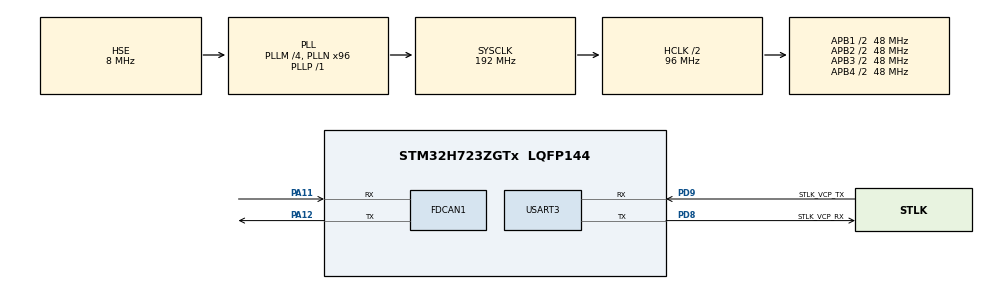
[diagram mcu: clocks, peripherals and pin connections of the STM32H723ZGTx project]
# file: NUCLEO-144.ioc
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CORTEX_M7.default_mode_Activation=1
Dma.Request0=USART3_TX
Dma.USART3_TX.0.Direction=DMA_MEMORY_TO_PERIPH
Dma.USART3_TX.0.EventEnable=DISABLE
Dma.USART3_TX.0.FIFOMode=DMA_FIFOMODE_DISABLE
Dma.USART3_TX.0.Instance=DMA1_Stream0
Dma.USART3_TX.0.MemDataAlignment=DMA_MDATAALIGN_BYTE
Dma.USART3_TX.0.MemInc=DMA_MINC_ENABLE
Dma.USART3_TX.0.Mode=DMA_NORMAL
Dma.USART3_TX.0.PeriphDataAlignment=DMA_PDATAALIGN_BYTE
Dma.USART3_TX.0.PeriphInc=DMA_PINC_DISABLE
Dma.USART3_TX.0.Polarity=HAL_DMAMUX_REQ_GEN_RISING
Dma.USART3_TX.0.Priority=DMA_PRIORITY_LOW
Dma.USART3_TX.0.RequestNumber=1
Dma.USART3_TX.0.SignalID=NONE
Dma.USART3_TX.0.SyncEnable=DISABLE
Dma.USART3_TX.0.SyncPolarity=HAL_DMAMUX_SYNC_NO_EVENT
Dma.USART3_TX.0.SyncRequestNumber=1
Dma.USART3_TX.0.SyncSignalID=NONE
FDCAN1.CalculateBaudRateNominal=500000
FDCAN1.CalculateTimeBitNominal=2000
FDCAN1.CalculateTimeQuantumNominal=125.0
FDCAN1.Mode=FDCAN_MODE_INTERNAL_LOOPBACK
FDCAN1.NominalPrescaler=6
FDCAN1.NominalTimeSeg1=13
FDCAN1.NominalTimeSeg2=2
FDCAN1.RxFifo0ElmtsNbr=3
FDCAN1.StdFiltersNbr=1
FDCAN1.TxFifoQueueElmtsNbr=3
FREERTOS.Tasks01=defaultTask,24,128,StartDefaultTask,Default,NULL,Dynamic,NULL,NULL
Mcu.Family=STM32H7
Mcu.Name=STM32H723ZGTx
Mcu.Package=LQFP144
NUCLEO-H723ZG.LD1=true
NVIC.DMA1_Stream0_IRQn=true\:5\:0\:false\:false\:true\:true\:false\:true\:true
NVIC.FDCAN1_IT0_IRQn=true\:5\:0\:false\:false\:true\:true\:true\:true\:true
NVIC.PriorityGroup=NVIC_PRIORITYGROUP_4
NVIC.TIM6_DAC_IRQn=true\:15\:0\:false\:false\:true\:false\:false\:true\:true
NVIC.TimeBase=TIM6_DAC_IRQn
NVIC.TimeBaseIP=TIM6
NVIC.USART3_IRQn=true\:5\:0\:false\:false\:true\:true\:true\:true\:true
PA11.GPIO_PuPd=GPIO_PULLUP
PA11.Mode=FDCAN_Activate
PA11.Signal=FDCAN1_RX
PA12.Mode=FDCAN_Activate
PA12.Signal=FDCAN1_TX
PA13(JTMS/SWDIO).GPIO_Label=SWDIO
PA13(JTMS/SWDIO).Signal=DEBUG_JTMS-SWDIO
PA14(JTCK/SWCLK).GPIO_Label=SWCLK
PA14(JTCK/SWCLK).Signal=DEBUG_JTCK-SWCLK
PC14-OSC32_IN.Signal=RCC_OSC32_IN
PC15-OSC32_OUT.Signal=RCC_OSC32_OUT
PD8.GPIO_Label=STLK_VCP_RX
PD8.Mode=Asynchronous
PD8.Signal=USART3_TX
PD9.GPIO_Label=STLK_VCP_TX
PD9.Mode=Asynchronous
PD9.Signal=USART3_RX
PH0-OSC_IN.Mode=HSE-External-Clock-Source
PH0-OSC_IN.Signal=RCC_OSC_IN
ProjectManager.HeapSize=0x200
ProjectManager.StackSize=0x400
ProjectManager.TargetToolchain=CMake
RCC.ADCFreq_Value=76000000
RCC.APB1Freq_Value=48000000
RCC.APB2Freq_Value=48000000
RCC.APB3Freq_Value=48000000
RCC.APB4Freq_Value=48000000
RCC.CortexFreq_Value=192000000
RCC.D1PPRE=RCC_APB3_DIV2
RCC.D2PPRE1=RCC_APB1_DIV2
RCC.D2PPRE2=RCC_APB2_DIV2
RCC.D3PPRE=RCC_APB4_DIV2
RCC.DIVM1=4
RCC.DIVM2=1
RCC.DIVN1=96
RCC.DIVN2=19
RCC.DIVP1=1
RCC.DIVQ1=4
RCC.HCLKFreq_Value=96000000
RCC.HPRE=RCC_HCLK_DIV2
RCC.HSE_VALUE=8000000
RCC.PLLFRACN=0
RCC.PLLSourceVirtual=RCC_PLLSOURCE_HSE
RCC.SYSCLKFreq_VALUE=192000000
RCC.SYSCLKSource=RCC_SYSCLKSOURCE_PLLCLK
RCC.USBCLockSelection=RCC_USBCLKSOURCE_HSI48
RCC.USBFreq_Value=48000000
USART3.VirtualMode-Asynchronous=VM_ASYNC
VP_FREERTOS_VS_CMSIS_V2.Mode=CMSIS_V2
VP_MEMORYMAP_VS_MEMORYMAP.Mode=CurAppReg
VP_NUCLEO-H723ZG_VS_BSP_COMMON.Mode=COMMON
VP_SYS_VS_tim6.Mode=TIM6
board=NUCLEO-H723ZG

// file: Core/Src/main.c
/* USER CODE BEGIN Header */
/**
  ******************************************************************************
  * @file           : main.c
  * @brief          : Main program body
  ******************************************************************************
  * @attention
  *
  * Copyright (c) 2026 STMicroelectronics.
  * All rights reserved.
  *
  * This software is licensed under terms that can be found in the LICENSE file
  * in the root directory of this software component.
  * If no LICENSE file comes with this software, it is provided AS-IS.
  *
  ******************************************************************************
  */
/* USER CODE END Header */
#include "main.h"
#include "FreeRTOS.h"
#include "cmsis_os2.h"
#include "dma.h"
#include "fdcan.h"
#include "usart.h"
#include "gpio.h"

void SystemClock_Config(void);
static void MPU_Config(void);
void MX_FREERTOS_Init(void);

/* USER CODE BEGIN 0 */
/*
static uint8_t txBuffer[10240] __attribute__((section(".dma_buffer"), aligned(32)));
static volatile int isSent = 1;

void HAL_UART_TxCpltCallback(UART_HandleTypeDef *huart)
{
  if (huart->Instance == USART3)
  {
    isSent = 1;
  }
}
*/
/* USER CODE END 0 */

int main(void)
{

  /* MPU Configuration--------------------------------------------------------*/
  MPU_Config();

  /* MCU Configuration--------------------------------------------------------*/

  /* Reset of all peripherals, Initializes the Flash interface and the Systick. */
  HAL_Init();

  /* Configure the system clock */
  SystemClock_Config();

  /* Initialize all configured peripherals */
  MX_GPIO_Init();
  MX_DMA_Init();
  MX_USART3_UART_Init();
  MX_FDCAN1_Init();

  /* Init scheduler */
  osKernelInitialize();  /* Call init function for freertos objects (in cmsis_os2.c) */
  MX_FREERTOS_Init();

  /* Initialize leds */
  BSP_LED_Init(LED_GREEN);

  /* Start scheduler */
  osKernelStart();

  /* We should never get here as control is now taken by the scheduler */

  /* Infinite loop */
  /* USER CODE BEGIN WHILE */
  while (1)
  {
    /*
    BSP_LED_Toggle(LED_GREEN);
    if (isSent)
    {
      HAL_UART_Transmit_DMA(&huart3, (const uint8_t *)txBuffer, sizeof(txBuffer));
      isSent = 0;
    }
    //HAL_UART_Transmit(&huart3, (const uint8_t *)txBuffer, sizeof(txBuffer), HAL_MAX_DELAY);
    HAL_Delay(500);
    */
    /* USER CODE END WHILE */

  }
}

void SystemClock_Config(void)
{
  RCC_OscInitTypeDef RCC_OscInitStruct = {0};
  RCC_ClkInitTypeDef RCC_ClkInitStruct = {0};

  /** Supply configuration update enable
  */
  HAL_PWREx_ConfigSupply(PWR_LDO_SUPPLY);

  /** Configure the main internal regulator output voltage
  */
  __HAL_PWR_VOLTAGESCALING_CONFIG(PWR_REGULATOR_VOLTAGE_SCALE2);

  while(!__HAL_PWR_GET_FLAG(PWR_FLAG_VOSRDY)) {}

  /** Initializes the RCC Oscillators according to the specified parameters
  * in the RCC_OscInitTypeDef structure.
  */
  RCC_OscInitStruct.OscillatorType = RCC_OSCILLATORTYPE_HSE;
  RCC_OscInitStruct.HSEState = RCC_HSE_BYPASS;
  RCC_OscInitStruct.PLL.PLLState = RCC_PLL_ON;
  RCC_OscInitStruct.PLL.PLLSource = RCC_PLLSOURCE_HSE;
  RCC_OscInitStruct.PLL.PLLM = 4;
  RCC_OscInitStruct.PLL.PLLN = 96;
  RCC_OscInitStruct.PLL.PLLP = 1;
  RCC_OscInitStruct.PLL.PLLQ = 4;
  RCC_OscInitStruct.PLL.PLLR = 2;
  RCC_OscInitStruct.PLL.PLLRGE = RCC_PLL1VCIRANGE_1;
  RCC_OscInitStruct.PLL.PLLVCOSEL = RCC_PLL1VCOWIDE;
  RCC_OscInitStruct.PLL.PLLFRACN = 0;
  if (HAL_RCC_OscConfig(&RCC_OscInitStruct) != HAL_OK)
  {
    Error_Handler();
  }

  /** Initializes the CPU, AHB and APB buses clocks
  */
  RCC_ClkInitStruct.ClockType = RCC_CLOCKTYPE_HCLK|RCC_CLOCKTYPE_SYSCLK
                              |RCC_CLOCKTYPE_PCLK1|RCC_CLOCKTYPE_PCLK2
                              |RCC_CLOCKTYPE_D3PCLK1|RCC_CLOCKTYPE_D1PCLK1;
  RCC_ClkInitStruct.SYSCLKSource = RCC_SYSCLKSOURCE_PLLCLK;
  RCC_ClkInitStruct.SYSCLKDivider = RCC_SYSCLK_DIV1;
  RCC_ClkInitStruct.AHBCLKDivider = RCC_HCLK_DIV2;
  RCC_ClkInitStruct.APB3CLKDivider = RCC_APB3_DIV2;
  RCC_ClkInitStruct.APB1CLKDivider = RCC_APB1_DIV2;
  RCC_ClkInitStruct.APB2CLKDivider = RCC_APB2_DIV2;
  RCC_ClkInitStruct.APB4CLKDivider = RCC_APB4_DIV2;

  if (HAL_RCC_ClockConfig(&RCC_ClkInitStruct, FLASH_LATENCY_1) != HAL_OK)
  {
    Error_Handler();
  }
}

 /* MPU Configuration */

void MPU_Config(void)
{
  MPU_Region_InitTypeDef MPU_InitStruct = {0};

  /* Disables the MPU */
  HAL_MPU_Disable();

  /** Initializes and configures the Region and the memory to be protected
  */
  MPU_InitStruct.Enable = MPU_REGION_ENABLE;
  MPU_InitStruct.Number = MPU_REGION_NUMBER0;
  MPU_InitStruct.BaseAddress = 0x0;
  MPU_InitStruct.Size = MPU_REGION_SIZE_4GB;
  MPU_InitStruct.SubRegionDisable = 0x87;
  MPU_InitStruct.TypeExtField = MPU_TEX_LEVEL0;
  MPU_InitStruct.AccessPermission = MPU_REGION_NO_ACCESS;
  MPU_InitStruct.DisableExec = MPU_INSTRUCTION_ACCESS_DISABLE;
  MPU_InitStruct.IsShareable = MPU_ACCESS_SHAREABLE;
  MPU_InitStruct.IsCacheable = MPU_ACCESS_NOT_CACHEABLE;
  MPU_InitStruct.IsBufferable = MPU_ACCESS_NOT_BUFFERABLE;

  HAL_MPU_ConfigRegion(&MPU_InitStruct);
  /* Enables the MPU */
  HAL_MPU_Enable(MPU_PRIVILEGED_DEFAULT);

}

void HAL_TIM_PeriodElapsedCallback(TIM_HandleTypeDef *htim)
{
  if (htim->Instance == TIM6)
  {
    HAL_IncTick();
  }
}

void Error_Handler(void)
{
  __disable_irq();
  while (1)
  {
  }
}

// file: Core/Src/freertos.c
/* USER CODE BEGIN Header */
/**
  ******************************************************************************
  * File Name          : freertos.c
  * Description        : Code for freertos applications
  ******************************************************************************
  * @attention
  *
  * Copyright (c) 2026 STMicroelectronics.
  * All rights reserved.
  *
  * This software is licensed under terms that can be found in the LICENSE file
  * in the root directory of this software component.
  * If no LICENSE file comes with this software, it is provided AS-IS.
  *
  ******************************************************************************
  */
/* USER CODE END Header */

#include "FreeRTOS.h"
#include "task.h"
#include "main.h"
#include "FreeRTOS.h"
#include "cmsis_os2.h"

/* USER CODE BEGIN Includes */
#include "Drivers/edt_logging_task.h"
#include "edt_can_app.h"
#include "Drivers/edt_log_item_handler.h"
#include "usart.h"
#include "Drivers/edt_can.h"
/* USER CODE END Includes */

/* USER CODE BEGIN Variables */
osMessageQueueId_t logQueueHandle;
const osMessageQueueAttr_t logQueue_attributes = {
  .name = "logQueue"
};
static osThreadId_t loggingTaskHandle;
static const osThreadAttr_t loggingTask_attributes = {
  .name = "loggingTask",
  .stack_size = 128 * 4,
  .priority = (osPriority_t) osPriorityNormal,
};
osMessageQueueId_t canRxQueueHandle;
const osMessageQueueAttr_t canRxQueue_attributes = {
  .name = "canRxQueue"
};
static osThreadId_t canAppTaskHandle;
static const osThreadAttr_t canAppTask_attributes = {
  .name = "canAppTask",
  .stack_size = 128 * 4,
  .priority = (osPriority_t) osPriorityNormal,
};
/* USER CODE END Variables */
/* Definitions for defaultTask */
osThreadId_t defaultTaskHandle;
const osThreadAttr_t defaultTask_attributes = {
  .name = "defaultTask",
  .stack_size = 128 * 4,
  .priority = (osPriority_t) osPriorityNormal,
};

void StartDefaultTask(void *argument);

void MX_FREERTOS_Init(void); /* (MISRA C 2004 rule 8.1) */

void MX_FREERTOS_Init(void) {

  /* USER CODE BEGIN RTOS_QUEUES */
  /* add queues, ... */
  logQueueHandle = osMessageQueueNew (32, sizeof(edt_log_item_t), &logQueue_attributes); // Use full message struct size
  canRxQueueHandle = osMessageQueueNew (32, sizeof(edt_can_rx_message_t), &canRxQueue_attributes); // Use full message struct size
  /* USER CODE END RTOS_QUEUES */

  /* Create the thread(s) */
  /* creation of defaultTask */
  defaultTaskHandle = osThreadNew(StartDefaultTask, NULL, &defaultTask_attributes);

  /* USER CODE BEGIN RTOS_THREADS */
  /* add threads, ... */
  loggingTaskHandle = osThreadNew(StartLoggingTask, &huart3, &loggingTask_attributes);
  canAppTaskHandle = osThreadNew(StartCanAppTask, &hfdcan1, &canAppTask_attributes);
  /* USER CODE END RTOS_THREADS */

}

void StartDefaultTask(void *argument)
{
  for(;;)
  {
    osDelay(1);
  }
}
